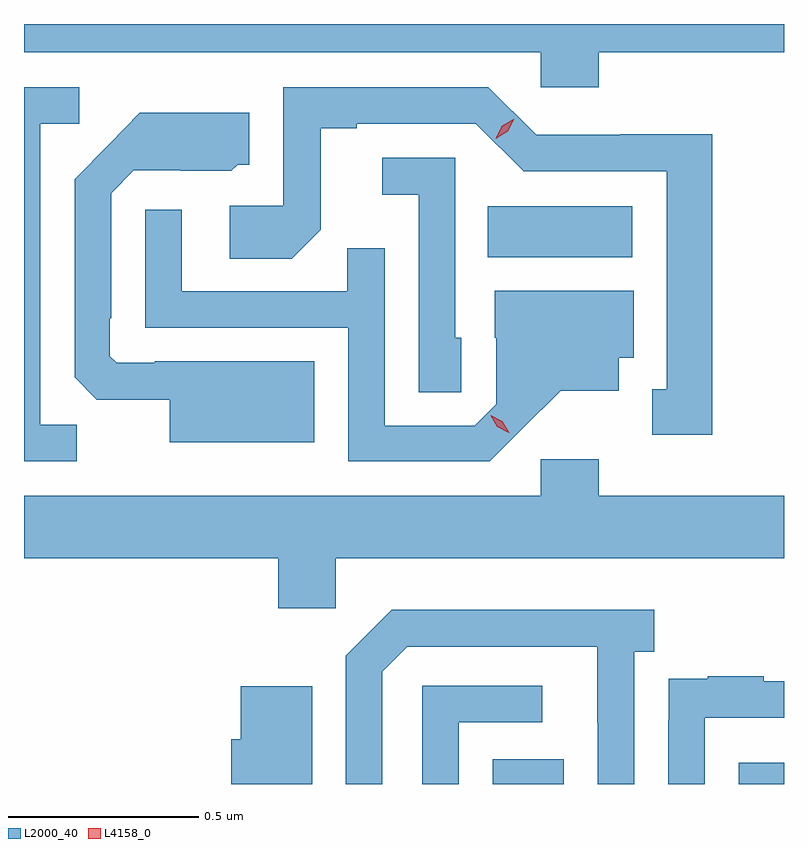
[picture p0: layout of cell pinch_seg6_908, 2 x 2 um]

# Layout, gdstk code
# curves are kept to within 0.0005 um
import gdstk
lib = gdstk.Library(unit=1e-6, precision=1e-09)
def R(c, l, rs):  # rectangles x0, y0, x1, y1
    for r in rs: c.add(gdstk.rectangle(r[:2], r[2:], *l))
def P(c, l, *ps):  # polygons
    for p in ps: c.add(gdstk.Polygon(p, *l))
L2000_40 = (2000, 40)
L4158_0 = (4158, 0)

pinch_seg6_908 = lib.new_cell('pinch_seg6_908')
R(pinch_seg6_908, L2000_40, [(147.149,982.706,147.337,982.771), (147.797,982.706,147.916,982.762), (147.136,984.092,147.517,984.226)])
P(pinch_seg6_908, L2000_40, [(147.428,984.632),(147.916,984.632),(147.916,984.706),(145.916,984.706),(145.916,984.632),(147.276,984.632),(147.276,984.539),(147.428,984.539)],
  [(147.727,984.416),(147.486,984.416),(147.486,984.414),(147.264,984.414),(147.138,984.54),(146.598,984.54),(146.598,984.228),(146.457,984.228),(146.457,984.088),(146.621,984.088),(146.697,984.164),(146.697,984.432),(146.791,984.432),(146.791,984.444),(147.105,984.444),(147.231,984.318),(147.608,984.318),(147.608,983.745),(147.569,983.745),(147.569,983.625),(147.727,983.625)],
  [(146.055,983.651),(145.959,983.651),(145.959,984.444),(146.062,984.444),(146.062,984.54),(145.916,984.54),(145.916,983.556),(146.055,983.556)],
  [(146.68,983.818),(146.26,983.818),(146.26,983.814),(146.16,983.814),(146.142,983.832),(146.142,983.932),(146.145,983.932),(146.145,984.261),(146.205,984.321),(146.328,984.321),(146.328,984.32),(146.462,984.32),(146.478,984.336),(146.509,984.336),(146.509,984.472),(146.221,984.472),(146.049,984.298),(146.049,983.776),(146.108,983.717),(146.3,983.717),(146.3,983.606),(146.68,983.606)],
  [(147.066,983.88),(147.051,983.88),(147.051,984.354),(146.859,984.354),(146.859,984.257),(146.955,984.257),(146.955,983.737),(147.066,983.737)],
  [(147.226,983.639),(147.329,983.741),(147.481,983.741),(147.481,983.828),(147.52,983.828),(147.52,984.004),(147.155,984.004),(147.155,983.88),(147.159,983.88),(147.159,983.706),(147.102,983.649),(146.865,983.649),(146.865,984.116),(146.767,984.116),(146.767,984.003),(146.331,984.003),(146.331,984.217),(146.235,984.217),(146.235,983.907),(146.769,983.907),(146.769,983.556),(147.142,983.556)],
  [(146.736,983.3),(147.916,983.3),(147.916,983.464),(147.428,983.464),(147.428,983.56),(147.276,983.56),(147.276,983.464),(145.916,983.464),(145.916,983.3),(146.585,983.3),(146.585,983.169),(146.736,983.169)],
  [(146.859,983.001),(146.925,983.067),(147.425,983.067),(147.425,982.867),(147.426,982.867),(147.426,982.706),(147.522,982.706),(147.522,983.054),(147.574,983.054),(147.574,983.164),(146.884,983.164),(146.763,983.043),(146.763,982.706),(146.859,982.706)],
  [(147.708,982.881),(147.916,982.881),(147.916,982.977),(147.863,982.977),(147.863,982.99),(147.715,982.99),(147.715,982.983),(147.613,982.983),(147.613,982.874),(147.612,982.874),(147.612,982.706),(147.708,982.706)],
  [(147.06,982.869),(147.28,982.869),(147.28,982.965),(146.964,982.965),(146.964,982.706),(147.06,982.706)],
  [(146.674,982.963),(146.486,982.963),(146.486,982.824),(146.462,982.824),(146.462,982.706),(146.674,982.706)])
P(pinch_seg6_908, L4158_0, [(147.158,984.404),(147.158,984.405),(147.175,984.438),(147.206,984.457),(147.206,984.457),(147.206,984.457),(147.189,984.424),(147.158,984.404)],
  [(147.192,983.63),(147.162,983.646),(147.144,983.675),(147.144,983.676),(147.144,983.676),(147.175,983.66),(147.193,983.631),(147.193,983.63)])

lib.write_gds('pinch_seg6_908.gds')
